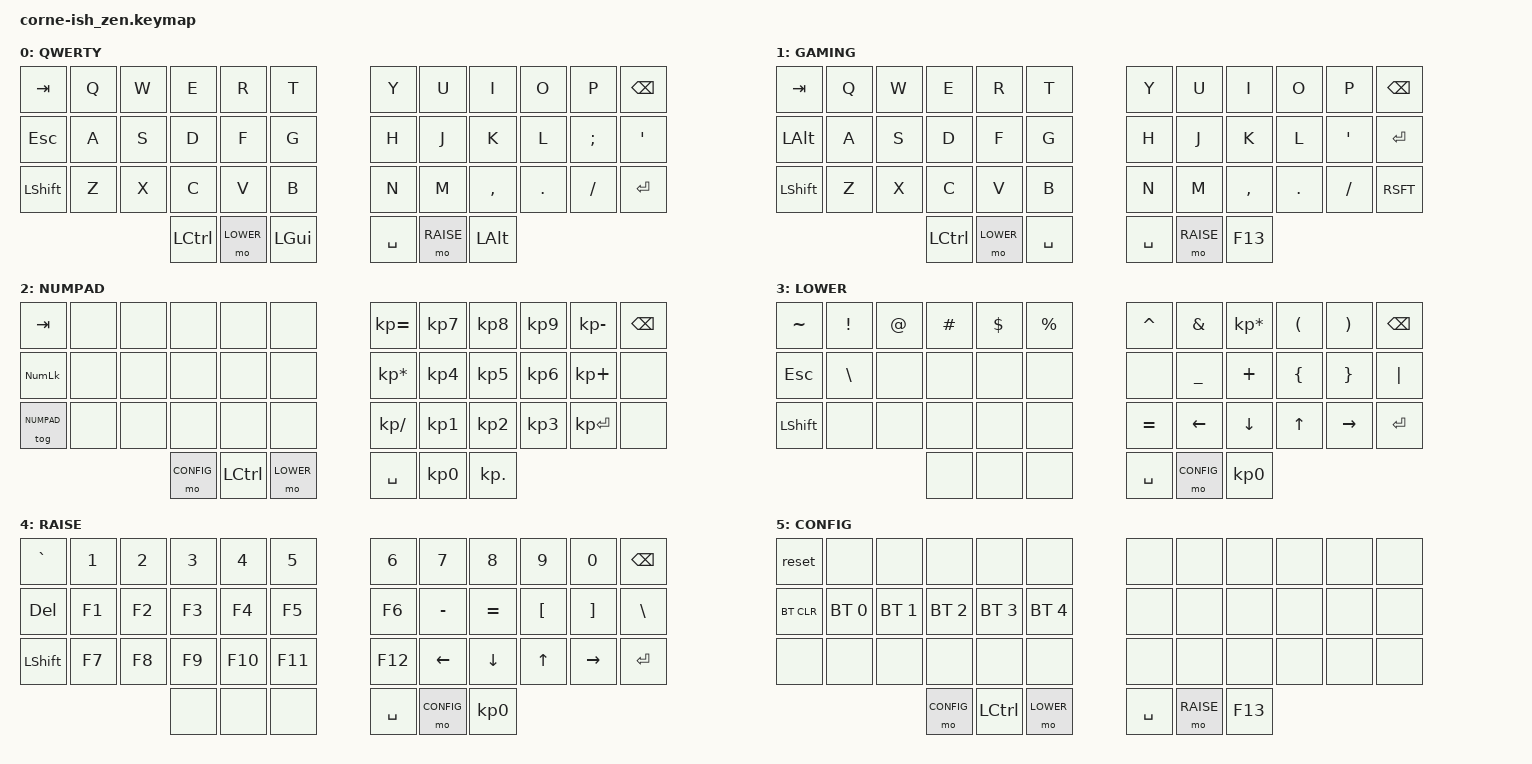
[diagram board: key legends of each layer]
/*
*
* Copyright (c) 2021 lowprokb.ca
* SPDX-License-Identifier: MIT
*
*/

#include <behaviors.dtsi>
#include <dt-bindings/zmk/keys.h>
#include <dt-bindings/zmk/bt.h>

#define QWERTY 0
#define GAMING 1
#define NUMPAD 2
#define LOWER 3
#define RAISE 4
#define CONFIG 5

/ {
        keymap {
                compatible = "zmk,keymap";

                default_layer {
                        label = "QWERTY";
                        bindings = <
   &kp TAB   &kp Q       &kp W      &kp E      &kp R      &kp T        &kp Y   &kp U      &kp I        &kp O      &kp P          &kp BKSP
   &kp ESC   &kp A     &kp S      &kp D      &kp F      &kp G        &kp H   &kp J      &kp K      &kp L    &kp SEMI     &kp SQT
   &kp LSHFT &kp Z       &kp X      &kp C      &kp V      &kp B        &kp N   &kp M      &kp COMMA    &kp DOT    &kp FSLH     &kp ENTER
                                    &kp LCTRL  &mo LOWER  &kp LGUI     &kp SPC &mo RAISE  &kp LALT
                        >;
                };

                gaming_layer {
                        label = "GAMING";
                        bindings = <
   &kp TAB   &kp Q &kp W &kp E &kp R &kp T    &kp Y &kp U &kp I    &kp O   &kp P    &kp BKSP
   &kp LALT  &kp A &kp S &kp D &kp F &kp G    &kp H &kp J &kp K    &kp L   &kp QUOT &kp ENTER
   &kp LSHFT &kp Z &kp X &kp C &kp V &kp B    &kp N &kp M &kp CMMA &kp DOT &kp FSLH &kp RSFT
               &kp LCTL &mo LOWER &kp SPC    &kp SPC &mo RAISE &kp F13
                        >;
                };

                numpad_layer {
                        label = "NUMPAD";
                        bindings = < 
   &kp TAB     &none &none &none &none &none    &kp KP_EQUAL    &kp KP_N7 &kp KP_N8 &kp KP_N9 &kp KP_MINUS &kp BSPC
   &kp KP_NLCK &none &none &none &none &none    &kp KP_ASTERISK &kp KP_N4 &kp KP_N5 &kp KP_N6 &kp KP_PLUS  &none
   &tog NUMPAD &none &none &none &none &none    &kp KP_SLASH    &kp KP_N1 &kp KP_N2 &kp KP_N3 &kp KP_ENTER &none
              &mo CONFIG &kp LCTL &mo LOWER    &kp SPC &kp KP_N0 &kp KP_DOT
                        >;
                };

                lower_layer {
                        label = "LOWER";
                        bindings = <
   &kp  TILDE  &kp EXCL &kp AT &kp HASH &kp DLLR &kp PRCNT   &kp CARET &kp AMPS  &kp KP_MULTIPLY &kp LPAR &kp RPAR &kp BSPC
   &kp  ESC  &kp BSLH &none  &none    &none    &none       &none   &kp UNDER &kp PLUS      &kp LBRC &kp RBRC &kp PIPE
   &kp  LSHFT &none   &none  &none    &none    &none       &kp EQUAL    &kp LEFT     &kp DOWN    &kp UP   &kp RIGHT &kp ENTER
                        &none    &none         &none           &kp SPC         &mo CONFIG   &kp KP_N0
                        >;
                };

                raise_layer {
                        label = "RAISE";
                        bindings = <
   &kp GRAVE    &kp N1    &kp N2    &kp N3  &kp N4    &kp N5    &kp N6   &kp N7     &kp N8     &kp N9    &kp N0   &kp BSPC
   &kp DEL    &kp F1  &kp F2    &kp F3  &kp F4  &kp F5    &kp F6   &kp MINUS &kp EQUAL &kp LBKT  &kp RBKT &kp BSLH
   &kp LSHFT  &kp F7    &kp F8    &kp F9  &kp F10   &kp F11   &kp F12  &kp LEFT     &kp DOWN    &kp UP      &kp RIGHT       &kp ENTER
                        &none    &none         &none           &kp SPC         &mo CONFIG   &kp KP_N0
                        >;
                };

                config_layer {
                        label = "CONFIG";
                        bindings = <
   &reset     &none        &none        &none        &none        &none           &none &none &none &none &none &none 
   &bt BT_CLR &bt BT_SEL 0 &bt BT_SEL 1 &bt BT_SEL 2 &bt BT_SEL 3 &bt BT_SEL 4    &none &none &none &none &none &none
   &none      &none        &none        &none        &none        &none           &none &none &none &none &none &none
                                                &mo CONFIG &kp LCTL &mo LOWER    &kp SPC &mo RAISE &kp F13
                        >;
                };
        };
};
